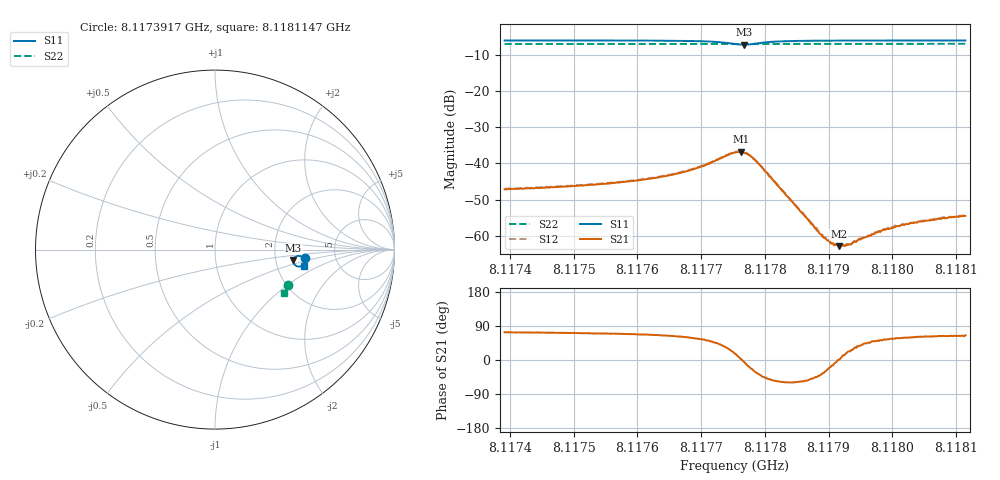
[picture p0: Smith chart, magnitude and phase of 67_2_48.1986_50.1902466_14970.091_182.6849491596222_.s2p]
#  HZ  S  RI  R  50.00
! Rohde & Schwarz Vector Network Analyzer
! Rohde-Schwarz,ZNB20-2Port,1311601062101988,3.16
! Created: UTC 3/20/2024, 11:39:01 AM
! freq[Hz]  re:S11  im:S11  re:S21  im:S21  re:S12  im:S12  re:S22  im:S22
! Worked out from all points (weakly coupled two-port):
!   401 points, 8.1173917 GHz to 8.1181147 GHz, reference 50 ohm
!   highest |S21| = -36.74 dB at 8.1177622 GHz (marker M1); lowest = -62.9 dB at 8.1179159 GHz (marker M2)
!   lowest |S11| = -7.1 dB at 8.1177677 GHz (marker M3), VSWR 2.58, Z = 126 - j18.5 ohm
!   |S11| at or under -10 dB: nowhere
!   |S22| runs from -6.9 to -6.9 dB; largest |S21 - S12| = 0.00051
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8.11739166e9  0.5031 -0.0484  0.00128 0.0042  0.00135 0.00432  0.4075 -0.1951
8.11751277e9  0.5012 -0.0598  0.00164 0.00467  0.00169 0.00478  0.404 -0.2029
8.11757424e9  0.4995 -0.0668  0.00198 0.00515  0.00207 0.00518  0.4023 -0.2068
8.11763389e9  0.4962 -0.0751  0.00268 0.00585  0.0028 0.00597  0.4003 -0.2107
8.11768993e9  0.4882 -0.0863  0.00456 0.00709  0.00468 0.0072  0.3981 -0.2145
8.1177532e9  0.4435 -0.0835  0.0136 0.00405  0.014 0.00405  0.3945 -0.2176
8.11776224e9  0.4372 -0.0694  0.0145 0.000634  0.0147 0.000592  0.3941 -0.2175
8.11776766e9  0.4372 -0.0594  0.0138 -0.00145  0.0143 -0.0015  0.3939 -0.2175
8.11777851e9  0.4468 -0.0426  0.0114 -0.00483  0.0117 -0.00508  0.3943 -0.2173
8.11779297e9  0.4659 -0.0349  0.0072 -0.00598  0.00714 -0.00619  0.3948 -0.2183
8.11787432e9  0.4972 -0.0593  0.000946 -0.00107  0.00098 -0.0011  0.3933 -0.2244
8.1178942e9  0.498 -0.0636  0.00079 -0.000481  0.000782 -0.0005  0.3928 -0.2258
8.11790686e9  0.4984 -0.0657  0.00076 -0.000197  0.000777 -0.000194  0.3924 -0.2268
8.1179159e9  0.4985 -0.0672  0.000717 6.52e-06  0.000759 -1.08e-05  0.3922 -0.2273
8.11792674e9  0.4986 -0.0689  0.000695 0.00021  0.000731 0.000187  0.3918 -0.228
8.11793759e9  0.4987 -0.0706  0.00071 0.000352  0.000708 0.000374  0.3914 -0.2287
8.11795928e9  0.4987 -0.0734  0.000699 0.000664  0.000706 0.000686  0.3906 -0.23
8.11798278e9  0.4986 -0.0762  0.000716 0.000931  0.000699 0.000929  0.39 -0.2315
8.11799544e9  0.4984 -0.0778  0.000718 0.00101  0.000723 0.00103  0.3894 -0.2324
8.11804424e9  0.4979 -0.0829  0.000745 0.00138  0.000748 0.00139  0.3878 -0.2355
8.1180804e9  0.4975 -0.0865  0.000778 0.00157  0.00084 0.0016  0.3867 -0.2376
8.11811474e9  0.497 -0.0896  0.000786 0.00171  0.00082 0.00173  0.3855 -0.2397
